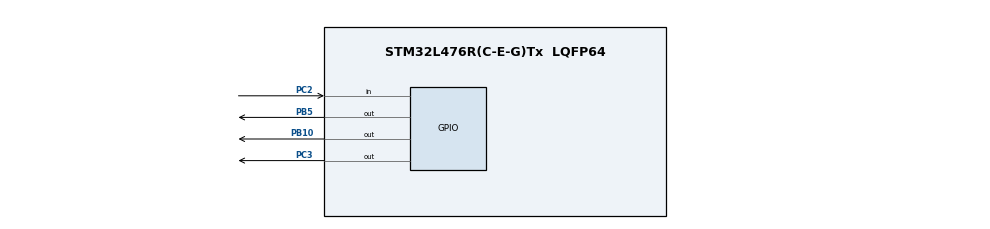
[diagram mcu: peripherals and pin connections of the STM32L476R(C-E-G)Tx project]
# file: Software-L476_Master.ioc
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Mcu.Family=STM32L4
Mcu.Name=STM32L476R(C-E-G)Tx
Mcu.Package=LQFP64
NVIC.PriorityGroup=NVIC_PRIORITYGROUP_4
PB10.Signal=GPIO_Output
PB5.Signal=GPIO_Output
PC2.Signal=GPIO_Input
PC3.Signal=GPIO_Output
ProjectManager.HeapSize=0x200
ProjectManager.StackSize=0x400
ProjectManager.TargetToolchain=MDK-ARM V5.32
RCC.HSE_VALUE=8000000
RCC.HSI_VALUE=16000000
RCC.LSE_VALUE=32768
RCC.MSI_VALUE=4000000
RCC.VCOOutputFreq_Value=32000000
VP_TIM2_VS_ClockSourceINT.Mode=Internal
board=custom

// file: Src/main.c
/* USER CODE BEGIN Header */
/**
  ******************************************************************************
  * @file           : main.c
  * @brief          : Main program body
  ******************************************************************************
  * @attention
  *
  * Copyright (c) 2024 STMicroelectronics.
  * All rights reserved.
  *
  * This software is licensed under terms that can be found in the LICENSE file
  * in the root directory of this software component.
  * If no LICENSE file comes with this software, it is provided AS-IS.
  *
  ******************************************************************************
  */
/* USER CODE END Header */
#include "main.h"

/* USER CODE BEGIN PV */
volatile uint8_t DataTrans[] = {7, 8, 4, 2};//Data
volatile uint8_t dataReceive;
volatile uint8_t counter = 0;;
/* USER CODE END PV */

void SystemClock_Config(void);
static void MX_GPIO_Init(void);
static void MX_TIM2_Init(void);
/* USER CODE BEGIN PFP */
void delay_ms(uint32_t timeDelay);
void SPI_SCK_clock_pulse(void);
void SPI_Init(void);
void SPI_transfer(uint8_t data_out);
uint8_t SPI_receive();
/* USER CODE END PFP */

int main(void)
{

  /* MCU Configuration--------------------------------------------------------*/

  /* Reset of all peripherals, Initializes the Flash interface and the Systick. */
  //LL_APB2_GRP1_EnableClock(LL_APB2_GRP1_PERIPH_SYSCFG);
  //LL_APB1_GRP1_EnableClock(LL_APB1_GRP1_PERIPH_PWR);

  /* System interrupt init*/
  //NVIC_SetPriorityGrouping(NVIC_PRIORITYGROUP_4);

  /* SysTick_IRQn interrupt configuration */
 // NVIC_SetPriority(SysTick_IRQn, NVIC_EncodePriority(NVIC_GetPriorityGrouping(),15, 0));

  /* Configure the system clock */
  //SystemClock_Config();

  /* Initialize all configured peripherals */
  MX_GPIO_Init();
  MX_TIM2_Init();
  /* USER CODE BEGIN 2 */
  SPI_Init();
  LL_TIM_EnableCounter(TIM2); // turn on timer

  /* USER CODE END 2 */

  /* Infinite loop */
  while (1)
  {

    /* USER CODE BEGIN 3 */

	for(uint8_t i = 0; i < (sizeof(DataTrans) / sizeof(DataTrans[0])); i++)
	{
		SPI_transfer(DataTrans[i]);
		delay_ms(1000);
	}
	counter = 0;
	delay_ms(100);
	while (counter <= (sizeof(DataTrans) / sizeof(DataTrans[0])))
	{
		dataReceive = SPI_receive();
		counter++;
		delay_ms(1000);
	}
  }
  /* USER CODE END 3 */
}

void SystemClock_Config(void)
{
  LL_FLASH_SetLatency(LL_FLASH_LATENCY_0);
  while(LL_FLASH_GetLatency()!= LL_FLASH_LATENCY_0)
  {
  }
  LL_PWR_SetRegulVoltageScaling(LL_PWR_REGU_VOLTAGE_SCALE1);
  while (LL_PWR_IsActiveFlag_VOS() != 0)
  {
  }
  LL_RCC_MSI_Enable();

   /* Wait till MSI is ready */
  while(LL_RCC_MSI_IsReady() != 1)
  {

  }
  LL_RCC_MSI_EnableRangeSelection();
  LL_RCC_MSI_SetRange(LL_RCC_MSIRANGE_6);
  LL_RCC_MSI_SetCalibTrimming(0);
  LL_RCC_SetSysClkSource(LL_RCC_SYS_CLKSOURCE_MSI);

   /* Wait till System clock is ready */
  while(LL_RCC_GetSysClkSource() != LL_RCC_SYS_CLKSOURCE_STATUS_MSI)
  {

  }
  LL_RCC_SetAHBPrescaler(LL_RCC_SYSCLK_DIV_1);
  LL_RCC_SetAPB1Prescaler(LL_RCC_APB1_DIV_1);
  LL_RCC_SetAPB2Prescaler(LL_RCC_APB2_DIV_1);

  LL_Init1msTick(4000000);

  LL_SetSystemCoreClock(4000000);
}

static void MX_TIM2_Init(void)
{

  LL_TIM_InitTypeDef TIM_InitStruct = {0};

  /* Peripheral clock enable */
  LL_APB1_GRP1_EnableClock(LL_APB1_GRP1_PERIPH_TIM2);

  TIM_InitStruct.Prescaler = 400-1;
  TIM_InitStruct.CounterMode = LL_TIM_COUNTERMODE_UP;
  TIM_InitStruct.Autoreload = 10-1;
  TIM_InitStruct.ClockDivision = LL_TIM_CLOCKDIVISION_DIV1;
  LL_TIM_Init(TIM2, &TIM_InitStruct);
  LL_TIM_DisableARRPreload(TIM2);
  LL_TIM_SetClockSource(TIM2, LL_TIM_CLOCKSOURCE_INTERNAL);
  LL_TIM_SetTriggerOutput(TIM2, LL_TIM_TRGO_RESET);
  LL_TIM_DisableMasterSlaveMode(TIM2);

}

static void MX_GPIO_Init(void)
{
  LL_GPIO_InitTypeDef GPIO_InitStruct = {0};

  /* GPIO Ports Clock Enable */
  LL_AHB2_GRP1_EnableClock(LL_AHB2_GRP1_PERIPH_GPIOC);
  LL_AHB2_GRP1_EnableClock(LL_AHB2_GRP1_PERIPH_GPIOB);

  /**/
  LL_GPIO_ResetOutputPin(GPIOC, LL_GPIO_PIN_3);

  /**/
  LL_GPIO_ResetOutputPin(GPIOB, LL_GPIO_PIN_10|LL_GPIO_PIN_5);

  /*PC2 - MISO*/
  GPIO_InitStruct.Pin = LL_GPIO_PIN_2;
  GPIO_InitStruct.Mode = LL_GPIO_MODE_INPUT;
  GPIO_InitStruct.Pull = LL_GPIO_PULL_NO;
  LL_GPIO_Init(GPIOC, &GPIO_InitStruct);

  /*PC3 - MOSI*/
  GPIO_InitStruct.Pin = LL_GPIO_PIN_3;
  GPIO_InitStruct.Mode = LL_GPIO_MODE_OUTPUT;
  GPIO_InitStruct.Speed = LL_GPIO_SPEED_FREQ_LOW;
  GPIO_InitStruct.OutputType = LL_GPIO_OUTPUT_PUSHPULL;
  GPIO_InitStruct.Pull = LL_GPIO_PULL_NO;
  LL_GPIO_Init(GPIOC, &GPIO_InitStruct);

  /*PB10 - SCK, PB5 - SS*/
  GPIO_InitStruct.Pin = LL_GPIO_PIN_10|LL_GPIO_PIN_5;
  GPIO_InitStruct.Mode = LL_GPIO_MODE_OUTPUT;
  GPIO_InitStruct.Speed = LL_GPIO_SPEED_FREQ_LOW;
  GPIO_InitStruct.OutputType = LL_GPIO_OUTPUT_PUSHPULL;
  GPIO_InitStruct.Pull = LL_GPIO_PULL_NO;
  LL_GPIO_Init(GPIOB, &GPIO_InitStruct);

}

/* USER CODE BEGIN 4 */
/* delay in ms */
void delay_ms(uint32_t timeDelay)
{
    for (uint32_t i = 0; i < timeDelay; i++)
    {
        LL_TIM_SetCounter(TIM2, 0);
        while (!LL_TIM_IsActiveFlag_UPDATE(TIM2));
        LL_TIM_ClearFlag_UPDATE(TIM2);
    }
}

/* SPI SCK clock pulse*/
void SPI_SCK_clock_pulse(void)
{
	LL_GPIO_SetOutputPin(GPIOB, LL_GPIO_PIN_10);
	delay_ms(4);
	LL_GPIO_ResetOutputPin(GPIOB, LL_GPIO_PIN_10);
	delay_ms(4);
}

/* SPI init */
void SPI_Init(void)
{
	LL_GPIO_ResetOutputPin(GPIOB, LL_GPIO_PIN_10);   // SCK
	LL_GPIO_SetOutputPin(GPIOB, LL_GPIO_PIN_5);      // SS
	LL_GPIO_ResetOutputPin(GPIOC, LL_GPIO_PIN_3);    // MOSI
}

/* Ham truyen du lieu tren SPI */
void SPI_transfer(uint8_t data_out)
{
    // Bat dau giao tiep bang cach keo chan SS xuong
    LL_GPIO_ResetOutputPin(GPIOB, LL_GPIO_PIN_5);
	delay_ms(1);
    // Gui du lieu
    for (uint8_t i = 0; i < 8u; i++)
	{
        // Goi bit cao nhat truoc
        if (data_out & 0x80u)
		{
            LL_GPIO_SetOutputPin(GPIOC, LL_GPIO_PIN_3); // Set MOSI
			delay_ms(1);
        }
		else
		{
            LL_GPIO_ResetOutputPin(GPIOC, LL_GPIO_PIN_3); // Reset MOSI
			delay_ms(1);
        }

		data_out <<= 1; // Dich du lieu ve ben trai
        // Tao xung clock
        SPI_SCK_clock_pulse();
    }

    // Ket thuc giao tiep bang cach keo chan SS len
    LL_GPIO_SetOutputPin(GPIOB, LL_GPIO_PIN_5);
	delay_ms(1);
}

/* Ham nhan du lieu tu slave gui */
uint8_t SPI_receive()
{
	uint8_t data_in = 0;

	// Bat dau giao tiep bang cach keo chan SS xuong
    LL_GPIO_ResetOutputPin(GPIOB, LL_GPIO_PIN_5);
	delay_ms(4);

	for (uint8_t i = 0; i < 8u; i++)
	{
       // Tao xung clock
        LL_GPIO_SetOutputPin(GPIOB, LL_GPIO_PIN_10); // SCK High
        delay_ms(4);
        data_in <<= 1; // Dich du lieu sang trai

        // Doc bit tu MISO
        if (LL_GPIO_IsInputPinSet(GPIOC, LL_GPIO_PIN_2))
		{
            data_in |= 0x01; // Neu MISO lа High, set bit thap nhat
        }

        // Рua SCK xuong
        LL_GPIO_ResetOutputPin(GPIOB, LL_GPIO_PIN_10); // SCK Low
		delay_ms(4);
    }
	// Ket thuc giao tiep bang cach keo chan SS len
    LL_GPIO_SetOutputPin(GPIOB, LL_GPIO_PIN_5);
	delay_ms(4);

	return data_in;
}
/* USER CODE END 4 */

void Error_Handler(void)
{
  __disable_irq();
  while (1)
  {
  }
}
